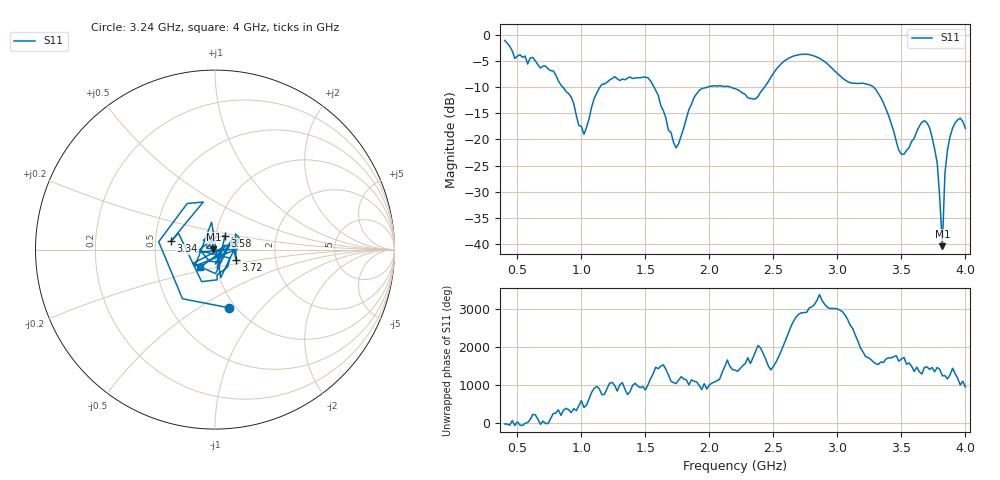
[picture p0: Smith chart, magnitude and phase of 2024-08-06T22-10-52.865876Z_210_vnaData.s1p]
!Created with skrf (http://scikit-rf.org).
# Hz S RI R 50.0
!freq ReS11 ImS11
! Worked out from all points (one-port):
!   181 points, 400 MHz to 4 GHz, reference 50 ohm
!   lowest |S11| = -40.3 dB at 3.82 GHz (marker M1), VSWR 1.02, Z = 49.1 + j0.251 ohm
!   |S11| at or under -10 dB: 854.2 MHz to 1.145 GHz (291.3 MHz wide, 29.1 % of centre); 1.567 GHz to 1.989 GHz (422.3 MHz wide, 23.8 % of centre); 3.281 GHz to end of sweep (the widest 3 of 4)
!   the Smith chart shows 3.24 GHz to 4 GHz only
!   S11 on the Smith chart (normalised r, x): 3.24 GHz: 0.93, -0.68; 3.34 GHz: 0.60, +0.06; 3.58 GHz: 1.10, +0.17; 3.72 GHz: 1.26, -0.14; 4 GHz: 0.83, -0.17
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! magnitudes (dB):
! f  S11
! 400 MHz  -1.1
! 480 MHz  -4.6
! 620 MHz  -4.4
! 860 MHz  -10.2
! 1.02 GHz  -19.0
! 1.14 GHz  -10.2
! 1.3 GHz  -8.8
! 1.52 GHz  -8.3
! 1.72 GHz  -20.6
! 1.76 GHz  -20.8
! 1.92 GHz  -10.7
! 2.2 GHz  -10.3
! 2.36 GHz  -12.3
! 2.66 GHz  -4.1
! 3.1 GHz  -9.2
! 3.24 GHz  -9.5
! 3.34 GHz  -12.1
! 3.48 GHz  -22.1
! 3.56 GHz  -21.6
! 3.58 GHz  -20.4
! 3.66 GHz  -16.7
! 3.72 GHz  -17.8
! 3.78 GHz  -24.5
! 3.82 GHz  -40.3
! 3.84 GHz  -26.5
! 3.88 GHz  -19.5
! 3.96 GHz  -16.0
! 4 GHz  -17.9
